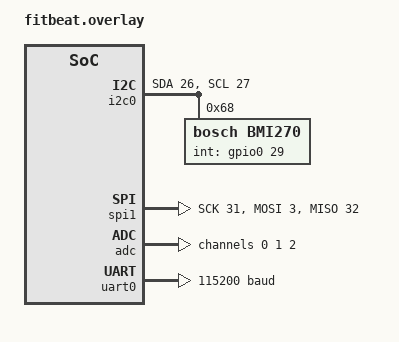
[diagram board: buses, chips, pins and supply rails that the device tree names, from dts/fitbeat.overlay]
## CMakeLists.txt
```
cmake_minimum_required(VERSION 3.20.0)

find_package(Zephyr REQUIRED HINTS $ENV{ZEPHYR_BASE})

project(fitbeat)

# Add source files
target_sources(app PRIVATE
    src/main.c
    src/ble_handler.c
    src/sensor_manager.c
)

# Add include directories
target_include_directories(app PRIVATE
    ${CMAKE_CURRENT_SOURCE_DIR}/include
)

# Add driver sources
target_sources(app PRIVATE
    drivers/bmi270/bmi270.c
    drivers/accel_highg/accel_highg.c
    drivers/cap_sensor/cap_sensor.c
    drivers/adc_gpio/adc_gpio.c
)
```

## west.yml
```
manifest:
  version: "0.13"

  defaults:
    remote: upstream

  remotes:
    - name: upstream
      url-base: https://github.com/zephyrproject-rtos

  projects:
    - name: zephyr
      remote: upstream
      revision: main
      import: true
```

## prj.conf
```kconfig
# Zephyr Kernel Configuration
CONFIG_KERNEL_PART_OF_STATIC_LIB=y

# BLE and Bluetooth
CONFIG_BT=y
CONFIG_BT_DEVICE_NAME="Fitbeat"
CONFIG_BT_DEVICE_APPEARANCE=833
CONFIG_BT_MAX_CONN=1
CONFIG_BT_GAP_AUTO_UPDATE_CONN_PARAMS=y

# GATT
CONFIG_BT_GATT_DYNAMIC_DB=y
CONFIG_BT_GATT_SERVICE_CHANGED=y

# Logging
CONFIG_LOG=y
CONFIG_LOG_DEFAULT_LEVEL=3

# I2C (for BMI270 and other sensors)
CONFIG_I2C=y

# SPI (if using SPI for high-G accelerometer)
CONFIG_SPI=y

# ADC
CONFIG_ADC=y

# GPIO
CONFIG_GPIO=y

# Threads/Tasks
CONFIG_THREAD_STACK_INFO=y
CONFIG_THREAD_NAME=y
CONFIG_NUM_PREEMPT_PRIORITIES=60

# Memory
CONFIG_HEAP_MEM_POOL_SIZE=2048

# UART for logging (optional)
CONFIG_UART_CONSOLE=y

# Real-time clock for timestamping
CONFIG_RTC=y
```

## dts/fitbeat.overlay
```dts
// Device Tree Overlay for Fitbeat on nrf52840

/ {
	chosen {
		zephyr,console = &uart0;
		zephyr,shell-uart = &uart0;
		zephyr,bt-mon-uart = &uart0;
	};
};

&i2c0 {
	status = "okay";
	sda-pin = <26>;
	scl-pin = <27>;
	
	// BMI270 IMU
	bmi270@68 {
		compatible = "bosch,bmi270";
		reg = <0x68>;
		int-gpios = <&gpio0 29 GPIO_ACTIVE_HIGH>;
		label = "BMI270";
	};
	
	// Additional sensors on I2C if needed
};

&spi1 {
	status = "okay";
	sck-pin = <31>;
	mosi-pin = <3>;
	miso-pin = <32>;
	cs-gpios = <&gpio0 30 GPIO_ACTIVE_LOW>;
};

&adc {
	status = "okay";
	#address-cells = <1>;
	#size-cells = <0>;
	
	channel@0 {
		reg = <0>;
		zephyr,gain = "ADC_GAIN_1";
		zephyr,reference = "ADC_REF_INTERNAL";
		zephyr,acquisition-time = <ADC_ACQ_TIME_DEFAULT>;
		zephyr,input-positive = <NRF_SAADC_AIN2>;
		zephyr,resolution = <12>;
	};
	
	channel@1 {
		reg = <1>;
		zephyr,gain = "ADC_GAIN_1";
		zephyr,reference = "ADC_REF_INTERNAL";
		zephyr,acquisition-time = <ADC_ACQ_TIME_DEFAULT>;
		zephyr,input-positive = <NRF_SAADC_AIN3>;
		zephyr,resolution = <12>;
	};
	
	channel@2 {
		reg = <2>;
		zephyr,gain = "ADC_GAIN_1";
		zephyr,reference = "ADC_REF_INTERNAL";
		zephyr,acquisition-time = <ADC_ACQ_TIME_DEFAULT>;
		zephyr,input-positive = <NRF_SAADC_AIN4>;
		zephyr,resolution = <12>;
	};
};

&gpio0 {
	status = "okay";
};

&uart0 {
	status = "okay";
	current-speed = <115200>;
};

&gpiote {
	status = "okay";
};
```

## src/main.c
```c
#include <zephyr/kernel.h>
#include <zephyr/bluetooth/bluetooth.h>
#include <zephyr/bluetooth/gatt.h>
#include <zephyr/logging/log.h>

LOG_MODULE_REGISTER(fitbeat_app);

#include "sensor_manager.h"
#include "ble_handler.h"

int main(void)
{
	LOG_INF("Fitbeat firmware starting...");

	/* Initialize Bluetooth */
	int err = bt_enable(NULL);
	if (err) {
		LOG_ERR("Bluetooth init failed (err %d)", err);
		return err;
	}
	LOG_INF("Bluetooth initialized");

	/* Initialize sensors */
	err = sensor_manager_init();
	if (err) {
		LOG_ERR("Sensor manager init failed (err %d)", err);
		return err;
	}
	LOG_INF("Sensors initialized");

	/* Initialize BLE handler */
	err = ble_handler_init();
	if (err) {
		LOG_ERR("BLE handler init failed (err %d)", err);
		return err;
	}
	LOG_INF("BLE handler initialized");

	/* Start advertising */
	err = ble_start_advertising();
	if (err) {
		LOG_ERR("Failed to start advertising (err %d)", err);
		return err;
	}
	LOG_INF("BLE advertising started");

	/* Sensor reading loop */
	while (1) {
		sensor_manager_read();
		
		/* Get current sensor data */
		struct sensor_data *data = sensor_manager_get_data();
		
		/* Send notifications for each sensor type */
		ble_notify_imu(data);
		ble_notify_highg(data);
		ble_notify_cap(data);
		ble_notify_adc(data);
		
		k_sleep(K_MSEC(100)); // 10 Hz sampling rate
	}

	return 0;
}
```

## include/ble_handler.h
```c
#ifndef BLE_HANDLER_H
#define BLE_HANDLER_H

#include <stdint.h>
#include "sensor_manager.h"

int ble_handler_init(void);
int ble_start_advertising(void);
void ble_send_sensor_data(uint8_t *data, uint16_t len);

/* Sensor-specific notification functions */
void ble_notify_imu(const struct sensor_data *data);
void ble_notify_highg(const struct sensor_data *data);
void ble_notify_cap(const struct sensor_data *data);
void ble_notify_adc(const struct sensor_data *data);

#endif /* BLE_HANDLER_H */
```

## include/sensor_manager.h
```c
#ifndef SENSOR_MANAGER_H
#define SENSOR_MANAGER_H

#include <stdint.h>

struct sensor_data {
	/* BMI270 data */
	struct {
		float accel_x, accel_y, accel_z;
		float gyro_x, gyro_y, gyro_z;
		float mag_x, mag_y, mag_z;
	} imu;

	/* High-G accelerometer */
	struct {
		float accel_x, accel_y, accel_z;
	} highg_accel;

	/* Capacitive sensor */
	uint16_t cap_value;

	/* ADC values */
	uint16_t adc_ch0, adc_ch1, adc_ch2;

	/* Timestamp */
	uint32_t timestamp;
};

int sensor_manager_init(void);
int sensor_manager_read(void);
struct sensor_data* sensor_manager_get_data(void);

#endif /* SENSOR_MANAGER_H */
```

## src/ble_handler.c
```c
#include <zephyr/kernel.h>
#include <zephyr/bluetooth/bluetooth.h>
#include <zephyr/bluetooth/gatt.h>
#include <zephyr/bluetooth/uuid.h>
#include <zephyr/logging/log.h>
#include <string.h>

LOG_MODULE_REGISTER(ble_handler);

#include "ble_handler.h"
#include "sensor_manager.h"

/* Custom Service UUIDs */
#define BT_UUID_FITBEAT_SERVICE \
	BT_UUID_128_ENCODE(0x12345678, 0x9abc, 0xdef0, 0x1234, 0x56789abcdef0)

#define BT_UUID_FITBEAT_IMU_CHAR \
	BT_UUID_128_ENCODE(0x87654321, 0xcba9, 0x0fed, 0x4321, 0x0fedcba98765)

#define BT_UUID_FITBEAT_HIGHG_CHAR \
	BT_UUID_128_ENCODE(0xaaaaaaaa, 0xbbbb, 0xcccc, 0xdddd, 0xeeeeeeeeeeee)

#define BT_UUID_FITBEAT_CAP_CHAR \
	BT_UUID_128_ENCODE(0xffffffff, 0x1111, 0x2222, 0x3333, 0x444444444444)

#define BT_UUID_FITBEAT_ADC_CHAR \
	BT_UUID_128_ENCODE(0x55555555, 0x6666, 0x7777, 0x8888, 0x999999999999)

static struct bt_uuid_128 fitbeat_svc_uuid = BT_UUID_INIT_128(BT_UUID_FITBEAT_SERVICE);
static struct bt_uuid_128 imu_char_uuid = BT_UUID_INIT_128(BT_UUID_FITBEAT_IMU_CHAR);
static struct bt_uuid_128 highg_char_uuid = BT_UUID_INIT_128(BT_UUID_FITBEAT_HIGHG_CHAR);
static struct bt_uuid_128 cap_char_uuid = BT_UUID_INIT_128(BT_UUID_FITBEAT_CAP_CHAR);
static struct bt_uuid_128 adc_char_uuid = BT_UUID_INIT_128(BT_UUID_FITBEAT_ADC_CHAR);

/* Notification enabled flags */
static uint8_t imu_notify_enabled = 0;
static uint8_t highg_notify_enabled = 0;
static uint8_t cap_notify_enabled = 0;
static uint8_t adc_notify_enabled = 0;

/* GATT Characteristic callback for IMU CCC */
static void imu_ccc_changed(const struct bt_gatt_attr *attr, uint16_t value)
{
	imu_notify_enabled = (value == BT_GATT_CCC_NOTIFY);
	LOG_INF("IMU notifications %s", imu_notify_enabled ? "enabled" : "disabled");
}

/* GATT Characteristic callback for High-G CCC */
static void highg_ccc_changed(const struct bt_gatt_attr *attr, uint16_t value)
{
	highg_notify_enabled = (value == BT_GATT_CCC_NOTIFY);
	LOG_INF("High-G notifications %s", highg_notify_enabled ? "enabled" : "disabled");
}

/* GATT Characteristic callback for Capacitive CCC */
static void cap_ccc_changed(const struct bt_gatt_attr *attr, uint16_t value)
{
	cap_notify_enabled = (value == BT_GATT_CCC_NOTIFY);
	LOG_INF("Capacitive sensor notifications %s", cap_notify_enabled ? "enabled" : "disabled");
}

/* GATT Characteristic callback for ADC CCC */
static void adc_ccc_changed(const struct bt_gatt_attr *attr, uint16_t value)
{
	adc_notify_enabled = (value == BT_GATT_CCC_NOTIFY);
	LOG_INF("ADC notifications %s", adc_notify_enabled ? "enabled" : "disabled");
}

/* GATT Service and Characteristics Definition */
static struct bt_gatt_attr fitbeat_attrs[] = {
	/* Service Declaration */
	BT_GATT_PRIMARY_SERVICE(&fitbeat_svc_uuid),

	/* IMU Characteristic */
	BT_GATT_CHARACTERISTIC(&imu_char_uuid,
			       BT_GATT_CHRC_READ | BT_GATT_CHRC_NOTIFY,
			       BT_GATT_PERM_READ,
			       NULL, NULL, NULL),
	BT_GATT_CCC(imu_ccc_changed,
		     BT_GATT_PERM_READ | BT_GATT_PERM_WRITE),

	/* High-G Accelerometer Characteristic */
	BT_GATT_CHARACTERISTIC(&highg_char_uuid,
			       BT_GATT_CHRC_READ | BT_GATT_CHRC_NOTIFY,
			       BT_GATT_PERM_READ,
			       NULL, NULL, NULL),
	BT_GATT_CCC(highg_ccc_changed,
		     BT_GATT_PERM_READ | BT_GATT_PERM_WRITE),

	/* Capacitive Sensor Characteristic */
	BT_GATT_CHARACTERISTIC(&cap_char_uuid,
			       BT_GATT_CHRC_READ | BT_GATT_CHRC_NOTIFY,
			       BT_GATT_PERM_READ,
			       NULL, NULL, NULL),
	BT_GATT_CCC(cap_ccc_changed,
		     BT_GATT_PERM_READ | BT_GATT_PERM_WRITE),

	/* ADC Characteristic */
	BT_GATT_CHARACTERISTIC(&adc_char_uuid,
			       BT_GATT_CHRC_READ | BT_GATT_CHRC_NOTIFY,
			       BT_GATT_PERM_READ,
			       NULL, NULL, NULL),
	BT_GATT_CCC(adc_ccc_changed,
		     BT_GATT_PERM_READ | BT_GATT_PERM_WRITE),
};

static struct bt_gatt_service fitbeat_svc = BT_GATT_SERVICE(fitbeat_attrs);

/* BLE advertisement setup */
static const struct bt_data ad[] = {
	BT_DATA_BYTES(BT_DATA_FLAGS, (BT_LE_AD_GENERAL | BT_LE_AD_NO_BREDR)),
	BT_DATA_BYTES(BT_DATA_UUID128_ALL,
		      0xf0, 0xde, 0xbc, 0x9a, 0x78, 0x56, 0x34, 0x12,
		      0x34, 0x12, 0xf0, 0xde, 0xbc, 0x9a, 0x78, 0x56),
};

/* Connection callback */
static void connected(struct bt_conn *conn, uint8_t err)
{
	if (err) {
		LOG_ERR("Connection failed (err %u)", err);
	} else {
		LOG_INF("Connected");
	}
}

/* Disconnection callback */
static void disconnected(struct bt_conn *conn, uint8_t reason)
{
	LOG_INF("Disconnected (reason %u)", reason);
	imu_notify_enabled = 0;
	highg_notify_enabled = 0;
	cap_notify_enabled = 0;
	adc_notify_enabled = 0;
}

static struct bt_conn_cb conn_callbacks = {
	.connected = connected,
	.disconnected = disconnected,
};

int ble_handler_init(void)
{
	LOG_INF("Initializing BLE handler...");

	bt_conn_cb_register(&conn_callbacks);
	bt_gatt_service_register(&fitbeat_svc);

	return 0;
}

int ble_start_advertising(void)
{
	int err;

	err = bt_le_adv_start(BT_LE_ADV_CONN_NAME, ad, ARRAY_SIZE(ad), NULL, 0);
	if (err) {
		LOG_ERR("Advertising failed to start (err %d)", err);
		return err;
	}

	return 0;
}

void ble_send_sensor_data(uint8_t *data, uint16_t len)
{
	/* This is a generic function for sending arbitrary data */
	/* For sensor streaming, use the specific characteristic notification functions below */
	
	/* IMU: 6 floats (accel_x, accel_y, accel_z, gyro_x, gyro_y, gyro_z) = 24 bytes */
	if (imu_notify_enabled && len >= 24) {
		bt_gatt_notify(NULL, &fitbeat_attrs[2], data, len);
	}
}

/* Send IMU data notification */
void ble_notify_imu(const struct sensor_data *data)
{
	if (!imu_notify_enabled) {
		return;
	}

	struct {
		float accel[3];
		float gyro[3];
	} imu_payload = {
		.accel[0] = data->imu.accel_x,
		.accel[1] = data->imu.accel_y,
		.accel[2] = data->imu.accel_z,
		.gyro[0] = data->imu.gyro_x,
		.gyro[1] = data->imu.gyro_y,
		.gyro[2] = data->imu.gyro_z,
	};

	bt_gatt_notify(NULL, &fitbeat_attrs[2], (uint8_t *)&imu_payload, sizeof(imu_payload));
}

/* Send High-G data notification */
void ble_notify_highg(const struct sensor_data *data)
{
	if (!highg_notify_enabled) {
		return;
	}

	struct {
		float accel[3];
	} highg_payload = {
		.accel[0] = data->highg_accel.accel_x,
		.accel[1] = data->highg_accel.accel_y,
		.accel[2] = data->highg_accel.accel_z,
	};

	bt_gatt_notify(NULL, &fitbeat_attrs[5], (uint8_t *)&highg_payload, sizeof(highg_payload));
}

/* Send Capacitive sensor data notification */
void ble_notify_cap(const struct sensor_data *data)
{
	if (!cap_notify_enabled) {
		return;
	}

	uint16_t cap_payload = data->cap_value;
	bt_gatt_notify(NULL, &fitbeat_attrs[8], (uint8_t *)&cap_payload, sizeof(cap_payload));
}

/* Send ADC data notification */
void ble_notify_adc(const struct sensor_data *data)
{
	if (!adc_notify_enabled) {
		return;
	}

	struct {
		uint16_t ch[3];
	} adc_payload = {
		.ch[0] = data->adc_ch0,
		.ch[1] = data->adc_ch1,
		.ch[2] = data->adc_ch2,
	};

	bt_gatt_notify(NULL, &fitbeat_attrs[11], (uint8_t *)&adc_payload, sizeof(adc_payload));
}
```

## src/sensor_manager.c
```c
#include <zephyr/kernel.h>
#include <zephyr/device.h>
#include <zephyr/drivers/sensor.h>
#include <zephyr/logging/log.h>

LOG_MODULE_REGISTER(sensor_manager);

#include "sensor_manager.h"
#include "../drivers/bmi270/bmi270.h"
#include "../drivers/accel_highg/accel_highg.h"
#include "../drivers/cap_sensor/cap_sensor.h"
#include "../drivers/adc_gpio/adc_gpio.h"

/* Sensor data storage */
static struct sensor_data current_sensor_data = {0};

/* Driver data structures */
static struct bmi270_data bmi270_data;
static struct accel_highg_data highg_data;
static struct cap_sensor_data cap_data;
static struct adc_gpio_data adc_data;

int sensor_manager_init(void)
{
	int err = 0;
	
	LOG_INF("Initializing sensor manager...");

	/* Initialize BMI270 IMU */
	err = bmi270_init();
	if (err) {
		LOG_ERR("Failed to initialize BMI270 (err %d)", err);
		return err;
	}
	LOG_INF("BMI270 initialized successfully");

	/* Initialize high-G accelerometer */
	err = accel_highg_init();
	if (err) {
		LOG_ERR("Failed to initialize accel_highg (err %d)", err);
		return err;
	}
	LOG_INF("High-G accelerometer initialized successfully");

	/* Initialize capacitive sensor */
	err = cap_sensor_init();
	if (err) {
		LOG_ERR("Failed to initialize cap_sensor (err %d)", err);
		return err;
	}
	LOG_INF("Capacitive sensor initialized successfully");

	/* Initialize ADC GPIO */
	err = adc_gpio_init();
	if (err) {
		LOG_ERR("Failed to initialize ADC/GPIO (err %d)", err);
		return err;
	}
	LOG_INF("ADC/GPIO initialized successfully");

	return 0;
}

int sensor_manager_read(void)
{
	int err = 0;

	/* Read BMI270 data */
	err = bmi270_read(&bmi270_data);
	if (err) {
		LOG_ERR("Failed to read BMI270 (err %d)", err);
	} else {
		/* Convert int16_t to float with scaling factor (typical: 16384 LSB/g for ±2g range) */
		current_sensor_data.imu.accel_x = (float)bmi270_data.accel_x / 16384.0f;
		current_sensor_data.imu.accel_y = (float)bmi270_data.accel_y / 16384.0f;
		current_sensor_data.imu.accel_z = (float)bmi270_data.accel_z / 16384.0f;
		current_sensor_data.imu.gyro_x = (float)bmi270_data.gyro_x / 131.0f;
		current_sensor_data.imu.gyro_y = (float)bmi270_data.gyro_y / 131.0f;
		current_sensor_data.imu.gyro_z = (float)bmi270_data.gyro_z / 131.0f;
		current_sensor_data.imu.mag_x = (float)bmi270_data.mag_x;
		current_sensor_data.imu.mag_y = (float)bmi270_data.mag_y;
		current_sensor_data.imu.mag_z = (float)bmi270_data.mag_z;
	}

	/* Read high-G accelerometer data */
	err = accel_highg_read(&highg_data);
	if (err) {
		LOG_ERR("Failed to read accel_highg (err %d)", err);
	} else {
		current_sensor_data.highg_accel.accel_x = (float)highg_data.accel_x / 256.0f;
		current_sensor_data.highg_accel.accel_y = (float)highg_data.accel_y / 256.0f;
		current_sensor_data.highg_accel.accel_z = (float)highg_data.accel_z / 256.0f;
	}

	/* Read capacitive sensor data */
	err = cap_sensor_read(&cap_data);
	if (err) {
		LOG_ERR("Failed to read cap_sensor (err %d)", err);
	} else {
		current_sensor_data.cap_value = cap_data.raw_value;
	}

	/* Read ADC channels */
	err = adc_gpio_read(&adc_data);
	if (err) {
		LOG_ERR("Failed to read ADC/GPIO (err %d)", err);
	} else {
		current_sensor_data.adc_ch0 = adc_data.adc_ch0;
		current_sensor_data.adc_ch1 = adc_data.adc_ch1;
		current_sensor_data.adc_ch2 = adc_data.adc_ch2;
	}

	/* Update timestamp */
	current_sensor_data.timestamp = k_uptime_get_32();

	return 0;
}

struct sensor_data* sensor_manager_get_data(void)
{
	return &current_sensor_data;
}
```
